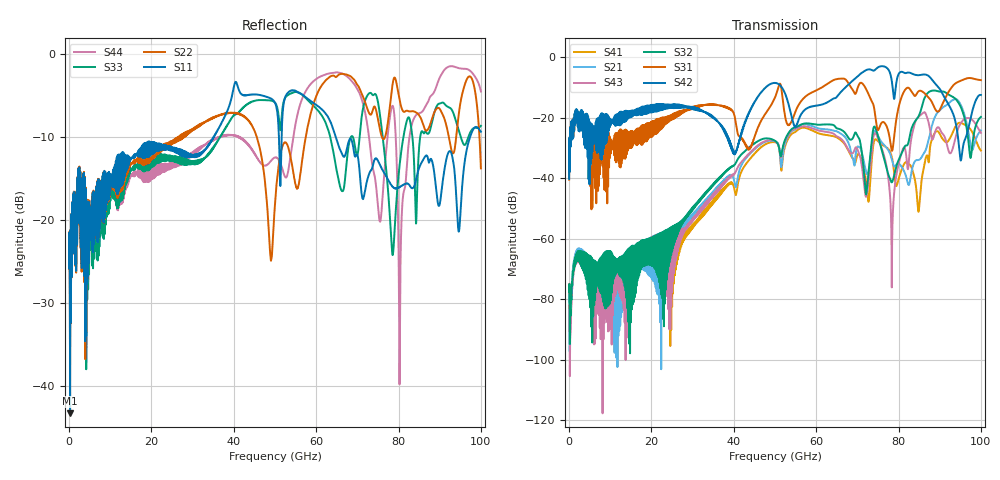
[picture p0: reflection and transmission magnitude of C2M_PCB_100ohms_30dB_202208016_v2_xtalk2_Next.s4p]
! Info: Touchstone file created by Circ.  Input file=Intel_C2M_200G_13p5in_202208016_staggered.circ
# Hz S RI R 50
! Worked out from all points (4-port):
!   10000 points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, 10 MHz to 100 GHz, reference 50 ohm
!   strongest paths, dB at 10 MHz, 25.01 GHz, 50.01 GHz, 75.01 GHz, 100 GHz:
!     S42: -40.3, -16.3, -8.6, -3.4, -12.6
!     S31: -40.5, -20.0, -13.4, -24.1, -7.7
!     S32: -77.6, -63.5, -27.7, -26.1, -19.8
!     S43: -82.0, -73.0, -27.9, -26.8, -25.0
!     S21: -78.5, -65.3, -27.9, -26.0, -24.2
!     S41: -80.9, -75.4, -28.2, -27.8, -30.9
!   lowest |S11| = -43.3 dB at 240 MHz (marker M1), VSWR 1.01, Z = 50.7 + j0.132 ohm
!   |S11| at or under -10 dB: start of sweep to 35.18 GHz; 50.96 GHz to 51.6 GHz (642.2 MHz wide, 1.25 % of centre); 64.75 GHz to 97.38 GHz (32.63 GHz wide, 40.3 % of centre)
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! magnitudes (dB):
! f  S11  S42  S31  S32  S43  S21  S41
! 10 MHz  -25.8  -40.3  -40.5  -77.6  -82.0  -78.5  -80.9
! 240 MHz  -43.3  -24.3  -24.4  -86.9  -95.4  -91.8  -87.7
! 56.22 GHz  -4.8  -19.2  -14.8  -22.4  -23.1  -22.5  -23.5
! 74.55 GHz  -12.6  -3.9  -21.4  -23.9  -25.5  -24.8  -27.2
! 78.41 GHz  -15.9  -8.3  -31.0  -41.3  -66.1  -34.0  -33.3
! 84.98 GHz  -13.8  -6.0  -11.2  -19.3  -19.6  -34.0  -50.0
! 100 GHz  -9.4  -12.6  -7.7  -19.8  -25.0  -24.2  -30.9
